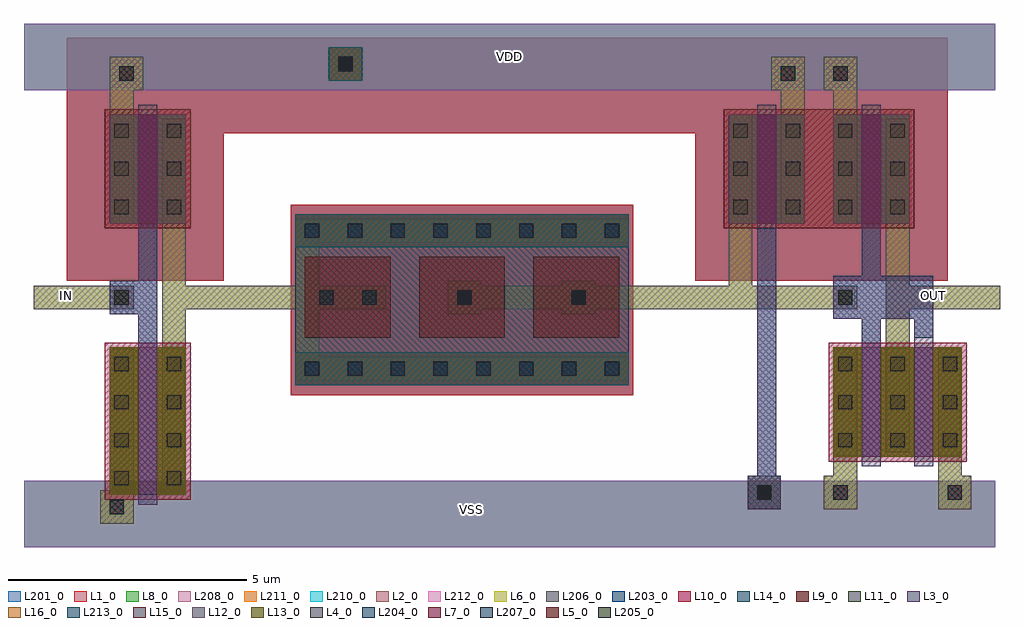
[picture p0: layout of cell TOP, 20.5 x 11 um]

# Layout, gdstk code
import gdstk
lib = gdstk.Library(unit=1e-6, precision=1e-09)
def R(c, l, rs):  # rectangles x0, y0, x1, y1
    for r in rs: c.add(gdstk.rectangle(r[:2], r[2:], *l))
def A(c, l, x, y, w, h, nx, ny, dx, dy):  # array of equal rectangles
    R(c, l, [(x+i*dx, y+j*dy, x+i*dx+w, y+j*dy+h) for i in range(nx) for j in range(ny)])
def P(c, l, *ps):  # polygons
    for p in ps: c.add(gdstk.Polygon(p, *l))
L1_0 = (1, 0)
L2_0 = (2, 0)
L3_0 = (3, 0)
L4_0 = (4, 0)
L5_0 = (5, 0)
L6_0 = (6, 0)
L7_0 = (7, 0)
L8_0 = (8, 0)
L9_0 = (9, 0)
L10_0 = (10, 0)
L11_0 = (11, 0)
L12_0 = (12, 0)
L13_0 = (13, 0)
L14_0 = (14, 0)
L15_0 = (15, 0)
L16_0 = (16, 0)
L201_0 = (201, 0)
L203_0 = (203, 0)
L204_0 = (204, 0)
L205_0 = (205, 0)
L206_0 = (206, 0)
L207_0 = (207, 0)
L208_0 = (208, 0)
L210_0 = (210, 0)
L211_0 = (211, 0)
L212_0 = (212, 0)
L213_0 = (213, 0)

d_nmos_2 = lib.new_cell('D$NMOS$2')
R(d_nmos_2, L203_0, [(-0.2,-1.55,0.2,1.55)])
R(d_nmos_2, L211_0, [(-0.8,-1.55,-0.2,1.55), (0.2,-1.55,0.8,1.55)])

trans2 = lib.new_cell('TRANS2')
R(trans2, L2_0, [(-0.8,-1.1,0.8,2)])
R(trans2, L3_0, [(-0.2,-1.3,0.2,2.2)])
A(trans2, L4_0, -0.7, -0.9, 0.3, 0.3, 1, 4, 0, 0.8)
A(trans2, L4_0, 0.4, -0.9, 0.3, 0.3, 1, 4, 0, 0.8)
R(trans2, L10_0, [(-0.2,-1.1,0.2,2)])
R(trans2, L11_0, [(-0.8,-1.1,-0.2,2), (0.2,-1.1,0.8,2)])
R(trans2, L13_0, [(-0.8,-1.1,-0.2,2), (0.2,-1.1,0.8,2)])
trans2.add(gdstk.Reference(d_nmos_2, (0,0.45)))

trans = lib.new_cell('TRANS')
R(trans, L2_0, [(-0.8,-1.1,0.8,1.2)])
R(trans, L3_0, [(-0.2,-1.3,0.2,1.4)])
A(trans, L4_0, -0.7, -0.9, 0.3, 0.3, 1, 3, 0, 0.8)
A(trans, L4_0, 0.4, -0.9, 0.3, 0.3, 1, 3, 0, 0.8)

d_pmos = lib.new_cell('D$PMOS')
R(d_pmos, L201_0, [(-0.2,-1.15,0.2,1.15)])
R(d_pmos, L203_0, [(-0.2,-1.15,0.2,1.15)])
R(d_pmos, L210_0, [(-0.8,-1.15,-0.2,1.15), (0.2,-1.15,0.8,1.15)])

d_nmos = lib.new_cell('D$NMOS')
R(d_nmos, L203_0, [(-0.2,-1.15,0.2,1.15)])
R(d_nmos, L211_0, [(-0.8,-1.15,-0.2,1.15), (0.2,-1.15,0.9,1.15)])

d_nmos_1 = lib.new_cell('D$NMOS$1')
R(d_nmos_1, L203_0, [(-0.2,-1.15,0.2,1.15)])
R(d_nmos_1, L211_0, [(-0.9,-1.15,-0.2,1.15), (0.2,-1.15,0.8,1.15)])

net_top_vss = lib.new_cell('NET_TOP_VSS')
R(net_top_vss, L203_0, [(12.6,-5.6,13.3,-4.9), (12.8,-5.6,13.2,0.3)])
R(net_top_vss, L205_0, [(12.8,-5.4,13.1,-5.1)])
R(net_top_vss, L206_0, [(-1,-5.9,-0.3,-5.2), (12.6,-5.6,13.3,-4.9), (14.2,-5.6,14.9,-4.9), (16.6,-5.6,17.3,-4.9), (-0.8,-5.5,-0.3,-2.2), (14.4,-5,14.9,-2.2), (16.6,-5,17.1,-2.2)])
R(net_top_vss, L207_0, [(-0.8,-5.7,-0.5,-5.4), (12.8,-5.4,13.1,-5.1), (14.4,-5.4,14.7,-5.1), (16.8,-5.4,17.1,-5.1)])
R(net_top_vss, L208_0, [(-2.6,-6.4,17.8,-5)])
R(net_top_vss, L211_0, [(14.4,-4.5,15,-2.2), (16.5,-4.5,17.1,-2.2)])
net_top_vss.add(gdstk.Reference(d_pmos, (13,1.55)))
net_top_vss.add(gdstk.Reference(d_nmos, (15.2,-3.35)))
net_top_vss.add(gdstk.Reference(d_nmos_1, (16.3,-3.35)))
net_top_vss.add(gdstk.Reference(d_nmos_2, (0,-3.75)))

net_top_in = lib.new_cell('NET_TOP_IN')
R(net_top_in, L203_0, [(-0.2,-2.2,0.2,0.6), (-0.8,-1.5,0.2,-0.8)])
R(net_top_in, L205_0, [(-0.7,-1.3,-0.4,-1)])
R(net_top_in, L206_0, [(-2.4,-1.4,-0.3,-0.9)])
net_top_in.add(gdstk.Reference(d_pmos, (0,1.55)))
net_top_in.add(gdstk.Reference(d_nmos_2, (0,-3.75)))

d_pnp = lib.new_cell('D$PNP')
P(d_pnp, L201_0, [(-1.1,-1.85),(-1.1,0.85),(-0.9,0.85),(-0.9,-0.85),(0.9,-0.85),(0.9,0.85),(1.5,0.85),(1.5,-0.85),(3.3,-0.85),(3.3,0.85),(3.9,0.85),(3.9,-0.85),(5.7,-0.85),(5.7,0.85),(-1.1,0.85),(-1.1,1.75),(5.9,1.75),(5.9,-1.85)])
R(d_pnp, L212_0, [(-0.9,-0.85,0.9,0.85)])

d_pnp_1 = lib.new_cell('D$PNP$1')
P(d_pnp_1, L201_0, [(-3.5,-1.85),(-3.5,0.85),(-3.3,0.85),(-3.3,-0.85),(-1.5,-0.85),(-1.5,0.85),(-0.9,0.85),(-0.9,-0.85),(0.9,-0.85),(0.9,0.85),(1.5,0.85),(1.5,-0.85),(3.3,-0.85),(3.3,0.85),(-3.5,0.85),(-3.5,1.75),(3.5,1.75),(3.5,-1.85)])
R(d_pnp_1, L212_0, [(-0.9,-0.85,0.9,0.85)])

d_pnp_2 = lib.new_cell('D$PNP$2')
P(d_pnp_2, L201_0, [(-5.9,-1.85),(-5.9,0.85),(-5.7,0.85),(-5.7,-0.85),(-3.9,-0.85),(-3.9,0.85),(-3.3,0.85),(-3.3,-0.85),(-1.5,-0.85),(-1.5,0.85),(-0.9,0.85),(-0.9,-0.85),(0.9,-0.85),(0.9,0.85),(-5.9,0.85),(-5.9,1.75),(1.1,1.75),(1.1,-1.85)])
R(d_pnp_2, L212_0, [(-0.9,-0.85,0.9,0.85)])

net_top__3 = lib.new_cell('NET_TOP_$3')
R(net_top__3, L201_0, [(3,-3.2,10.2,0.8)])
A(net_top__3, L204_0, 3.3, -2.8, 0.3, 0.3, 8, 2, 0.9, 2.9)
R(net_top__3, L204_0, [(3.6,-1.3,3.9,-1), (4.5,-1.3,4.8,-1)])
R(net_top__3, L206_0, [(0.3,-5.3,0.8,2.6), (3.1,-2.9,3.6,0.5), (3.1,-2.9,10.1,-2.4), (0.5,-1.4,5,-0.9), (3.1,0,10.1,0.5)])
R(net_top__3, L210_0, [(0.2,0.4,0.8,2.7)])
R(net_top__3, L212_0, [(3.3,-2,5.1,-0.3)])
R(net_top__3, L213_0, [(3.1,-3,10.1,-2.3), (3.1,-0.1,10.1,0.6)])
net_top__3.add(gdstk.Reference(d_pnp, (4.2,-1.15)))
net_top__3.add(gdstk.Reference(d_pnp, (4.2,-1.15)))
net_top__3.add(gdstk.Reference(d_pnp_1, (6.6,-1.15)))
net_top__3.add(gdstk.Reference(d_pnp_2, (9,-1.15)))
net_top__3.add(gdstk.Reference(d_pmos, (0,1.55)))
net_top__3.add(gdstk.Reference(d_nmos_2, (0,-3.75)))

net_top__4 = lib.new_cell('NET_TOP_$4')
R(net_top__4, L203_0, [(15,-2.2,15.4,0.6), (16.1,-2,16.5,-0.7), (14.4,-1.6,16.5,-0.7)])
R(net_top__4, L204_0, [(6.5,-1.3,6.8,-1), (8.9,-1.3,9.2,-1)])
R(net_top__4, L205_0, [(14.5,-1.3,14.8,-1)])
R(net_top__4, L206_0, [(6.3,-1.5,7,-0.8), (8.7,-1.5,9.4,-0.8), (6.7,-1.4,14.9,-0.9), (12.2,-1,12.7,2.7)])
R(net_top__4, L207_0, [(6.5,-1.3,6.8,-1), (8.9,-1.3,9.2,-1)])
R(net_top__4, L210_0, [(12.2,0.4,12.8,2.7)])
R(net_top__4, L212_0, [(5.7,-2,7.5,-0.3), (8.1,-2,9.9,-0.3)])
net_top__4.add(gdstk.Reference(d_pnp_1, (6.6,-1.15)))
net_top__4.add(gdstk.Reference(d_pnp_2, (9,-1.15)))
net_top__4.add(gdstk.Reference(d_nmos, (15.2,-3.35)))
net_top__4.add(gdstk.Reference(d_nmos_1, (16.3,-3.35)))
net_top__4.add(gdstk.Reference(d_pmos, (15.2,1.55)))
net_top__4.add(gdstk.Reference(d_pmos, (13,1.55)))

net_top_out = lib.new_cell('NET_TOP_OUT')
R(net_top_out, L206_0, [(15.5,-4.4,16,2.6), (15.8,-1.4,17.9,-0.9)])
R(net_top_out, L210_0, [(15.4,0.4,16,2.7)])
R(net_top_out, L211_0, [(15.4,-4.5,16.1,-2.2)])
net_top_out.add(gdstk.Reference(d_nmos, (15.2,-3.35)))
net_top_out.add(gdstk.Reference(d_nmos_1, (16.3,-3.35)))
net_top_out.add(gdstk.Reference(d_pmos, (15.2,1.55)))

net_top_vdd = lib.new_cell('NET_TOP_VDD')
P(net_top_vdd, L201_0, [(-1.7,-0.8),(-1.7,4.3),(16.8,4.3),(16.8,-0.8),(11.5,-0.8),(11.5,2.3),(1.6,2.3),(1.6,-0.8)])
R(net_top_vdd, L204_0, [(4,3.6,4.3,3.9)])
R(net_top_vdd, L206_0, [(-0.8,0.4,-0.3,3.2), (13.3,0.4,13.8,3.2), (14.4,0.4,14.9,3.2), (-0.8,3.2,-0.1,3.9), (13.1,3.2,13.8,3.9), (14.2,3.2,14.9,3.9), (3.8,3.4,4.5,4.1)])
R(net_top_vdd, L207_0, [(-0.6,3.4,-0.3,3.7), (13.3,3.4,13.6,3.7), (14.4,3.4,14.7,3.7), (4,3.6,4.3,3.9)])
R(net_top_vdd, L208_0, [(-2.6,3.2,17.8,4.6)])
R(net_top_vdd, L210_0, [(-0.8,0.4,-0.2,2.7), (13.2,0.4,13.8,2.7), (14.4,0.4,15,2.7)])
R(net_top_vdd, L213_0, [(3.8,3.4,4.5,4.1)])
net_top_vdd.add(gdstk.Reference(d_pmos, (15.2,1.55)))
net_top_vdd.add(gdstk.Reference(d_pmos, (13,1.55)))
net_top_vdd.add(gdstk.Reference(d_pmos, (0,1.55)))
net_top_vdd.add(gdstk.Reference(d_pmos, (15.2,1.55)))
net_top_vdd.add(gdstk.Reference(d_pmos, (0,1.55)))
net_top_vdd.add(gdstk.Reference(d_pmos, (13,1.55)))

net_top_bulk = lib.new_cell('NET_TOP_BULK')
net_top_bulk.add(gdstk.Reference(d_pnp, (4.2,-1.15)))
net_top_bulk.add(gdstk.Reference(d_pnp_1, (6.6,-1.15)))
net_top_bulk.add(gdstk.Reference(d_pnp_2, (9,-1.15)))
net_top_bulk.add(gdstk.Reference(d_nmos, (15.2,-3.35)))
net_top_bulk.add(gdstk.Reference(d_nmos_1, (16.3,-3.35)))
net_top_bulk.add(gdstk.Reference(d_nmos_2, (0,-3.75)))

top = lib.new_cell('TOP')
R(top, L1_0, [(3,-3.2,10.2,0.8)])
P(top, L1_0, [(-1.7,-0.8),(-1.7,4.3),(16.8,4.3),(16.8,-0.8),(11.5,-0.8),(11.5,2.3),(1.6,2.3),(1.6,-0.8)])
R(top, L2_0, [(3.1,-3,10.1,0.6)])
R(top, L3_0, [(12.6,-5.6,13.3,-4.9), (12.8,-5.6,13.2,0.3), (-0.2,-2.2,0.2,0.6), (15,-2.2,15.4,0.6), (16.1,-2,16.5,-0.7), (14.4,-1.6,16.5,-0.7), (-0.8,-1.5,0.2,-0.8)])
A(top, L4_0, 3.3, -2.8, 0.3, 0.3, 8, 2, 0.9, 2.9)
R(top, L4_0, [(3.6,-1.3,3.9,-1), (4.5,-1.3,4.8,-1), (6.5,-1.3,6.8,-1), (8.9,-1.3,9.2,-1), (4,3.6,4.3,3.9)])
R(top, L5_0, [(12.8,-5.4,13.1,-5.1), (-0.7,-1.3,-0.4,-1), (14.5,-1.3,14.8,-1)])
R(top, L6_0, [(-1,-5.9,-0.3,-5.2), (12.6,-5.6,13.3,-4.9), (14.2,-5.6,14.9,-4.9), (16.6,-5.6,17.3,-4.9), (-0.8,-5.5,-0.3,-2.2), (0.3,-5.3,0.8,2.6), (14.4,-5,14.9,-2.2), (16.6,-5,17.1,-2.2), (15.5,-4.4,16,2.6), (3.1,-2.9,3.6,0.5), (3.1,-2.9,10.1,-2.4), (6.3,-1.5,7,-0.8), (8.7,-1.5,9.4,-0.8), (-2.4,-1.4,-0.3,-0.9), (0.5,-1.4,5,-0.9), (6.7,-1.4,14.9,-0.9), (15.8,-1.4,17.9,-0.9), (12.2,-1,12.7,2.7), (3.1,0,10.1,0.5), (-0.8,0.4,-0.3,3.2), (13.3,0.4,13.8,3.2), (14.4,0.4,14.9,3.2), (-0.8,3.2,-0.1,3.9), (13.1,3.2,13.8,3.9), (14.2,3.2,14.9,3.9), (3.8,3.4,4.5,4.1)])
R(top, L7_0, [(-0.8,-5.7,-0.5,-5.4), (12.8,-5.4,13.1,-5.1), (14.4,-5.4,14.7,-5.1), (16.8,-5.4,17.1,-5.1), (6.5,-1.3,6.8,-1), (8.9,-1.3,9.2,-1), (-0.6,3.4,-0.3,3.7), (13.3,3.4,13.6,3.7), (14.4,3.4,14.7,3.7), (4,3.6,4.3,3.9)])
R(top, L8_0, [(-2.6,-6.4,17.8,-5), (-2.6,3.2,17.8,4.6)])
A(top, L9_0, 3.3, -2, 1.8, 1.7, 3, 1, 2.4, 0)
R(top, L9_0, [(-0.9,0.3,0.9,2.8), (12.1,0.3,16.1,2.8)])
R(top, L10_0, [(-0.9,-5.4,0.9,-2.1), (14.3,-4.6,17.2,-2.1), (15,-4.5,15.4,-2.2), (16.1,-4.5,16.5,-2.2), (3.1,-3,10.1,-2.3), (3.1,-0.1,10.1,0.6), (-0.2,0.4,0.2,2.7), (12.8,0.4,13.2,2.7), (15,0.4,15.4,2.7), (3.8,3.4,4.5,4.1)])
R(top, L11_0, [(14.4,-4.5,15,-2.2), (15.4,-4.5,16.1,-2.2), (16.5,-4.5,17.1,-2.2), (-0.8,0.4,-0.2,2.7), (0.2,0.4,0.8,2.7), (12.2,0.4,12.8,2.7), (13.2,0.4,13.8,2.7), (14.4,0.4,15,2.7), (15.4,0.4,16,2.7)])
R(top, L12_0, [(-0.8,0.4,-0.2,2.7), (0.2,0.4,0.8,2.7), (12.2,0.4,12.8,2.7), (13.2,0.4,13.8,2.7), (14.4,0.4,15,2.7), (15.4,0.4,16,2.7)])
R(top, L13_0, [(14.4,-4.5,15,-2.2), (15.4,-4.5,16.1,-2.2), (16.5,-4.5,17.1,-2.2)])
R(top, L14_0, [(3.1,-3,10.1,0.6)])
A(top, L15_0, 3.3, -2, 1.8, 1.7, 3, 1, 2.4, 0)
R(top, L16_0, [(3.1,-3,10.1,-2.3), (3.1,-0.1,10.1,0.6), (3.8,3.4,4.5,4.1)])
top.add(gdstk.Reference(trans2, (0,-4.2)))
top.add(gdstk.Reference(trans, (15.2,-3.4)))
top.add(gdstk.Reference(trans, (16.3,-3.4)))
top.add(gdstk.Reference(trans, (0,1.5)))
top.add(gdstk.Reference(trans, (13,1.5)))
top.add(gdstk.Reference(trans, (15.2,1.5)))
top.add(gdstk.Reference(net_top_vss, (0,0)))
top.add(gdstk.Reference(net_top_in, (0,0)))
top.add(gdstk.Reference(net_top__3, (0,0)))
top.add(gdstk.Reference(net_top__4, (0,0)))
top.add(gdstk.Reference(net_top_out, (0,0)))
top.add(gdstk.Reference(net_top_vdd, (0,0)))
top.add(gdstk.Reference(net_top_bulk, (0,0)))
top.add(gdstk.Reference(d_pmos, (15.2,1.55)))
top.add(gdstk.Reference(d_pmos, (0,1.55)))
top.add(gdstk.Reference(d_pmos, (13,1.55)))
top.add(gdstk.Reference(d_nmos, (15.2,-3.35)))
top.add(gdstk.Reference(d_nmos_1, (16.3,-3.35)))
top.add(gdstk.Reference(d_pnp, (4.2,-1.15)))
top.add(gdstk.Reference(d_pnp_1, (6.6,-1.15)))
top.add(gdstk.Reference(d_pnp_2, (9,-1.15)))
top.add(gdstk.Label('IN', (-1.7,-1.1), layer=6, texttype=1))
top.add(gdstk.Label('OUT', (16.5,-1.1), layer=6, texttype=1))
top.add(gdstk.Label('VSS', (6.8,-5.6), layer=8, texttype=1))
top.add(gdstk.Label('VDD', (7.6,3.9), layer=8, texttype=1))

lib.write_gds('TOP.gds')
